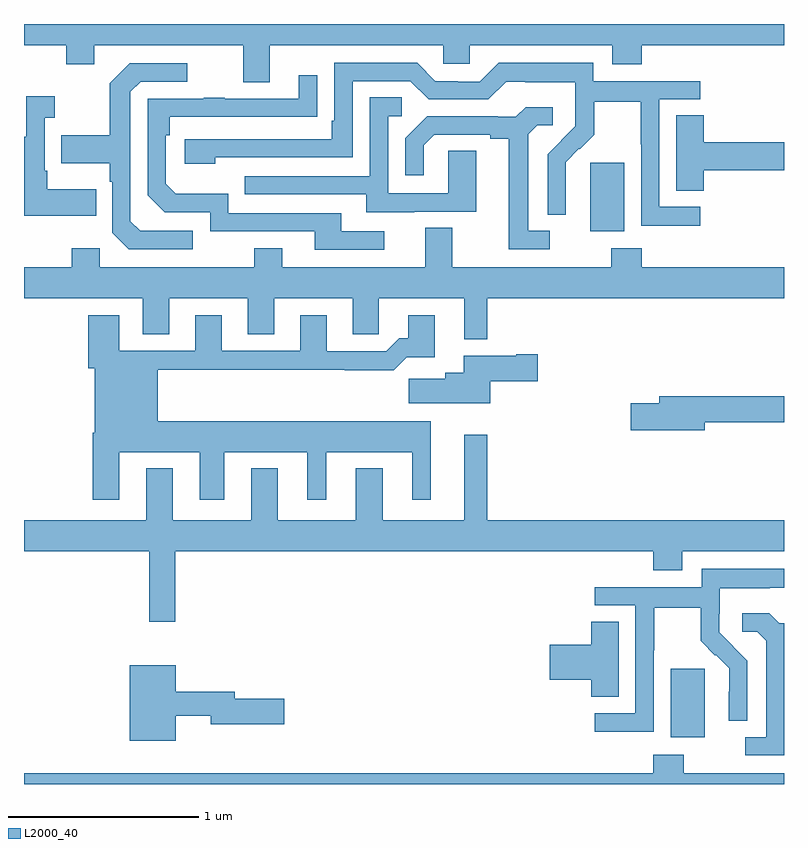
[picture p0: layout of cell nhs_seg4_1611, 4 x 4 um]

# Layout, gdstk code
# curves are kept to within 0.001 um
import gdstk
lib = gdstk.Library(unit=1e-6, precision=1e-09)
def R(c, l, rs):  # rectangles x0, y0, x1, y1
    for r in rs: c.add(gdstk.rectangle(r[:2], r[2:], *l))
def P(c, l, *ps):  # polygons
    for p in ps: c.add(gdstk.Polygon(p, *l))
L2000_40 = (2000, 40)

nhs_seg4_1611 = lib.new_cell('nhs_seg4_1611')
R(nhs_seg4_1611, L2000_40, [(196.403,825.146,196.582,825.507), (195.98,827.81,196.159,828.171)])
P(nhs_seg4_1611, L2000_40, [(194.293,828.788),(195.207,828.788),(195.207,828.69),(195.345,828.69),(195.345,828.788),(196.097,828.788),(196.097,828.689),(196.25,828.689),(196.25,828.788),(197,828.788),(197,828.9),(193,828.9),(193,828.788),(193.222,828.788),(193.222,828.689),(193.369,828.689),(193.369,828.788),(194.153,828.788),(194.153,828.594),(194.293,828.594)],
  [(196.558,827.937),(196.344,827.937),(196.344,828.504),(196.558,828.504),(196.558,828.6),(195.996,828.6),(195.996,828.697),(195.499,828.697),(195.399,828.597),(195.284,828.597),(195.284,828.6),(195.165,828.6),(195.069,828.696),(194.634,828.696),(194.634,828.391),(194.621,828.391),(194.621,828.294),(193.845,828.294),(193.845,828.164),(194.006,828.164),(194.006,828.198),(194.73,828.198),(194.73,828.6),(195.033,828.6),(195.129,828.504),(195.444,828.504),(195.537,828.597),(195.637,828.597),(195.637,828.593),(195.9,828.593),(195.9,828.459),(195.902,828.459),(195.902,828.362),(195.756,828.214),(195.756,827.896),(195.852,827.896),(195.851,828.173),(195.921,828.243),(195.924,828.24),(196.001,828.317),(196.001,828.492),(196.246,828.492),(196.246,828.268),(196.248,828.268),(196.248,827.839),(196.558,827.839)],
  [(193.888,827.811),(193.611,827.811),(193.56,827.862),(193.56,828.543),(193.614,828.597),(193.858,828.597),(193.858,828.693),(193.557,828.693),(193.452,828.587),(193.452,828.315),(193.195,828.315),(193.195,828.167),(193.452,828.167),(193.452,828.071),(193.464,828.071),(193.464,827.802),(193.551,827.715),(193.888,827.715)],
  [(194.896,827.808),(194.671,827.808),(194.671,827.904),(194.076,827.904),(194.076,828.007),(193.799,828.007),(193.746,828.06),(193.746,828.314),(193.766,828.314),(193.766,828.411),(194.543,828.412),(194.543,828.631),(194.447,828.631),(194.447,828.507),(194.057,828.507),(194.057,828.512),(193.945,828.512),(193.945,828.507),(193.65,828.507),(193.65,828),(193.74,827.91),(193.98,827.91),(193.98,827.808),(194.531,827.808),(194.531,827.712),(194.896,827.712)],
  [(193.379,828.031),(193.123,828.031),(193.123,828.127),(193.11,828.127),(193.11,828.407),(193.162,828.407),(193.162,828.52),(193.013,828.52),(193.013,828.307),(193.002,828.307),(193.002,827.891),(193.379,827.891)],
  [(195.055,827.913),(195.379,827.913),(195.379,828.233),(195.234,828.233),(195.234,828.009),(194.916,828.009),(194.916,828.414),(194.989,828.414),(194.989,828.515),(194.82,828.515),(194.82,828.099),(194.161,828.099),(194.161,828.003),(194.801,828.003),(194.801,827.909),(195.055,827.909)],
  [(195.766,827.811),(195.655,827.811),(195.655,828.319),(195.702,828.366),(195.784,828.366),(195.784,828.463),(195.64,828.463),(195.588,828.411),(195.494,828.411),(195.494,828.414),(195.122,828.414),(195.006,828.298),(195.006,828.105),(195.103,828.105),(195.103,828.261),(195.16,828.318),(195.455,828.318),(195.455,828.296),(195.551,828.296),(195.551,827.715),(195.766,827.715)],
  [(196.577,828.131),(197,828.131),(197,828.278),(196.577,828.278),(196.577,828.419),(196.433,828.419),(196.433,828.022),(196.577,828.022)],
  [(195.439,827.456),(197,827.456),(197,827.62),(196.25,827.62),(196.25,827.719),(196.09,827.719),(196.09,827.62),(195.253,827.62),(195.253,827.828),(195.113,827.828),(195.113,827.62),(194.359,827.62),(194.359,827.719),(194.212,827.719),(194.212,827.62),(193.398,827.62),(193.398,827.719),(193.252,827.719),(193.252,827.62),(193,827.62),(193,827.456),(193.625,827.456),(193.625,827.266),(193.765,827.266),(193.765,827.456),(194.177,827.456),(194.177,827.266),(194.317,827.266),(194.317,827.456),(194.729,827.456),(194.729,827.266),(194.868,827.266),(194.868,827.456),(195.317,827.456),(195.317,827.24),(195.439,827.24)],
  [(193.501,826.646),(193.925,826.646),(193.925,826.395),(194.053,826.395),(194.053,826.646),(194.492,826.646),(194.492,826.395),(194.59,826.395),(194.59,826.646),(195.044,826.646),(195.044,826.395),(195.142,826.395),(195.142,826.81),(193.705,826.81),(193.705,827.08),(194.689,827.08),(194.689,827.078),(194.945,827.078),(195.014,827.147),(195.163,827.147),(195.163,827.368),(195.023,827.368),(195.023,827.245),(194.974,827.245),(194.907,827.178),(194.593,827.178),(194.593,827.368),(194.453,827.368),(194.453,827.181),(194.041,827.181),(194.041,827.368),(193.901,827.368),(193.901,827.181),(193.501,827.181),(193.501,827.368),(193.337,827.368),(193.337,827.088),(193.373,827.088),(193.373,826.75),(193.361,826.75),(193.361,826.395),(193.501,826.395)],
  [(195.454,827.021),(195.703,827.021),(195.703,827.163),(195.59,827.163),(195.59,827.155),(195.314,827.155),(195.314,827.065),(195.218,827.065),(195.218,827.033),(195.024,827.033),(195.024,826.904),(195.454,826.904)],
  [(196.582,826.804),(197,826.804),(197,826.94),(196.343,826.94),(196.343,826.904),(196.194,826.904),(196.194,826.762),(196.582,826.762)],
  [(193.796,826.124),(196.313,826.124),(196.313,826.025),(196.465,826.025),(196.465,826.124),(197,826.124),(197,826.288),(195.439,826.288),(195.439,826.738),(195.317,826.738),(195.317,826.288),(194.887,826.288),(194.887,826.561),(194.747,826.561),(194.747,826.288),(194.335,826.288),(194.335,826.561),(194.195,826.561),(194.195,826.288),(193.783,826.288),(193.783,826.561),(193.643,826.561),(193.643,826.288),(193,826.288),(193,826.124),(193.66,826.124),(193.66,825.753),(193.796,825.753)],
  [(196.314,825.604),(196.317,825.604),(196.317,825.828),(196.561,825.828),(196.561,825.653),(196.638,825.576),(196.641,825.579),(196.712,825.509),(196.712,825.386),(196.71,825.386),(196.71,825.232),(196.806,825.232),(196.806,825.55),(196.66,825.698),(196.66,825.795),(196.662,825.795),(196.662,825.929),(196.925,825.929),(196.925,825.933),(197,825.933),(197,826.033),(196.566,826.033),(196.566,825.936),(196.005,825.936),(196.005,825.84),(196.218,825.84),(196.218,825.273),(196.005,825.273),(196.005,825.175),(196.314,825.175)],
  [(197,825.747),(196.974,825.747),(196.922,825.799),(196.779,825.799),(196.779,825.702),(196.86,825.702),(196.907,825.655),(196.907,825.147),(196.797,825.147),(196.797,825.051),(197,825.051)],
  [(196.129,825.755),(195.986,825.755),(195.986,825.632),(195.768,825.632),(195.768,825.449),(195.986,825.449),(195.986,825.358),(196.129,825.358)],
  [(193.798,825.258),(193.982,825.258),(193.982,825.215),(194.371,825.215),(194.371,825.35),(194.11,825.35),(194.11,825.386),(193.798,825.386),(193.798,825.526),(193.556,825.526),(193.556,825.128),(193.798,825.128)],
  [(197,824.956),(196.473,824.956),(196.473,825.055),(196.313,825.055),(196.313,824.956),(193,824.956),(193,824.9),(197,824.9)])

lib.write_gds('nhs_seg4_1611.gds')
